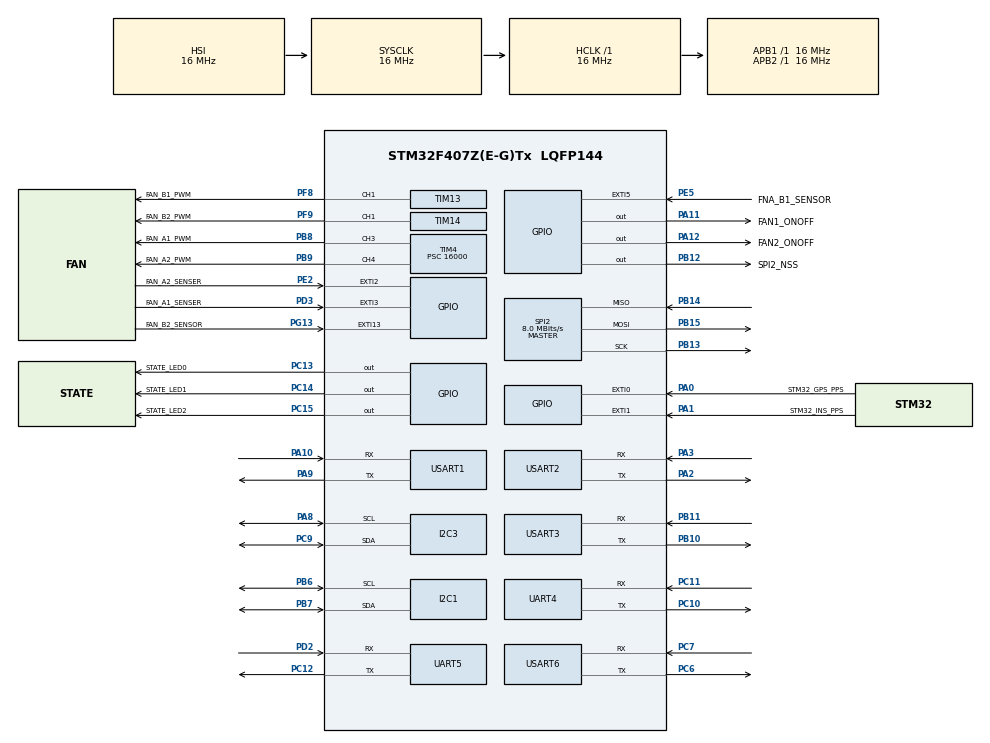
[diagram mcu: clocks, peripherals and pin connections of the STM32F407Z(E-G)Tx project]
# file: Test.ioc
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Mcu.Family=STM32F4
Mcu.Name=STM32F407Z(E-G)Tx
Mcu.Package=LQFP144
NVIC.EXTI15_10_IRQn=true\:0\:0\:false\:false\:true\:true\:true\:true
NVIC.EXTI2_IRQn=true\:0\:0\:false\:false\:true\:true\:true\:true
NVIC.EXTI3_IRQn=true\:0\:0\:false\:false\:true\:true\:true\:true
NVIC.EXTI9_5_IRQn=true\:0\:0\:false\:false\:true\:true\:true\:true
NVIC.PriorityGroup=NVIC_PRIORITYGROUP_4
NVIC.TIM6_DAC_IRQn=true\:0\:0\:false\:false\:true\:true\:true\:true
NVIC.USART2_IRQn=true\:0\:0\:false\:false\:true\:true\:true\:true
PA0-WKUP.GPIO_Label=STM32_GPS_PPS
PA0-WKUP.Signal=GPXTI0
PA1.GPIO_Label=STM32_INS_PPS
PA1.Signal=GPXTI1
PA10.Mode=Asynchronous
PA10.Signal=USART1_RX
PA11.GPIO_Label=FAN1_ONOFF
PA11.Signal=GPIO_Output
PA12.GPIO_Label=FAN2_ONOFF
PA12.Signal=GPIO_Output
PA13.Mode=JTAG_5_pins
PA13.Signal=SYS_JTMS-SWDIO
PA14.Mode=JTAG_5_pins
PA14.Signal=SYS_JTCK-SWCLK
PA15.Mode=JTAG_5_pins
PA15.Signal=SYS_JTDI
PA2.Mode=Asynchronous
PA2.Signal=USART2_TX
PA3.Mode=Asynchronous
PA3.Signal=USART2_RX
PA8.GPIO_Pu=GPIO_PULLUP
PA8.Mode=I2C
PA8.Signal=I2C3_SCL
PA9.Mode=Asynchronous
PA9.Signal=USART1_TX
PB10.Mode=Asynchronous
PB10.Signal=USART3_TX
PB11.Mode=Asynchronous
PB11.Signal=USART3_RX
PB12.GPIO_Label=SPI2_NSS
PB12.Signal=GPIO_Output
PB13.Mode=Full_Duplex_Master
PB13.Signal=SPI2_SCK
PB14.Mode=Full_Duplex_Master
PB14.Signal=SPI2_MISO
PB15.Mode=Full_Duplex_Master
PB15.Signal=SPI2_MOSI
PB3.Mode=JTAG_5_pins
PB3.Signal=SYS_JTDO-SWO
PB4.Mode=JTAG_5_pins
PB4.Signal=SYS_JTRST
PB6.GPIO_Pu=GPIO_PULLUP
PB6.Mode=I2C
PB6.Signal=I2C1_SCL
PB7.GPIO_Pu=GPIO_PULLUP
PB7.Mode=I2C
PB7.Signal=I2C1_SDA
PB8.GPIO_Label=FAN_A1_PWM
PB8.Signal=S_TIM4_CH3
PB9.GPIO_Label=FAN_A2_PWM
PB9.Signal=S_TIM4_CH4
PC10.Mode=Asynchronous
PC10.Signal=UART4_TX
PC11.Mode=Asynchronous
PC11.Signal=UART4_RX
PC12.Mode=Asynchronous
PC12.Signal=UART5_TX
PC13-ANTI_TAMP.GPIO_Label=STATE_LED0
PC13-ANTI_TAMP.Signal=GPIO_Output
PC14-OSC32_IN.GPIO_Label=STATE_LED1
PC14-OSC32_IN.Signal=GPIO_Output
PC15-OSC32_OUT.GPIO_Label=STATE_LED2
PC15-OSC32_OUT.Signal=GPIO_Output
PC6.Mode=Asynchronous
PC6.Signal=USART6_TX
PC7.Mode=Asynchronous
PC7.Signal=USART6_RX
PC9.GPIO_Pu=GPIO_PULLUP
PC9.Mode=I2C
PC9.Signal=I2C3_SDA
PD2.Mode=Asynchronous
PD2.Signal=UART5_RX
PD3.GPIO_Label=FAN_A1_SENSER
PD3.Signal=GPXTI3
PE2.GPIO_Label=FAN_A2_SENSER
PE2.Signal=GPXTI2
PE5.GPIO_Label=FNA_B1_SENSOR
PE5.Signal=GPXTI5
PF8.GPIO_Label=FAN_B1_PWM
PF8.Signal=S_TIM13_CH1
PF9.GPIO_Label=FAN_B2_PWM
PF9.Signal=S_TIM14_CH1
PG13.GPIO_Label=FAN_B2_SENSOR
PG13.Signal=GPXTI13
PH0-OSC_IN.Mode=HSE-External-Oscillator
PH0-OSC_IN.Signal=RCC_OSC_IN
PH1-OSC_OUT.Mode=HSE-External-Oscillator
PH1-OSC_OUT.Signal=RCC_OSC_OUT
ProjectManager.HeapSize=0x200
ProjectManager.StackSize=0x400
ProjectManager.TargetToolchain=EWARM V8.32
RCC.AHBFreq_Value=16000000
RCC.APB1Freq_Value=16000000
RCC.APB1TimFreq_Value=16000000
RCC.APB2Freq_Value=16000000
RCC.APB2TimFreq_Value=16000000
RCC.CortexFreq_Value=16000000
RCC.HSE_VALUE=25000000
RCC.HSI_VALUE=16000000
RCC.LSE_VALUE=32768
RCC.SYSCLKFreq_VALUE=16000000
RCC.VCOOutputFreq_Value=192000000
SH.S_TIM13_CH1.0=TIM13_CH1,PWM Generation1 CH1
SH.S_TIM14_CH1.0=TIM14_CH1,PWM Generation1 CH1
SH.S_TIM4_CH3.0=TIM4_CH3,PWM Generation3 CH3
SH.S_TIM4_CH4.0=TIM4_CH4,PWM Generation4 CH4
SPI2.CalculateBaudRate=8.0 MBits/s
SPI2.Direction=SPI_DIRECTION_2LINES
SPI2.Mode=SPI_MODE_MASTER
SPI2.VirtualType=VM_MASTER
TIM13.Channel=TIM_CHANNEL_1
TIM13.Period=500
TIM13.Prescaler=4000
TIM13.Pulse=300
TIM14.Channel=TIM_CHANNEL_1
TIM14.Period=500
TIM14.Prescaler=4000
TIM14.Pulse=300
TIM4.Channel-PWM\ Generation3\ CH3=TIM_CHANNEL_3
TIM4.Channel-PWM\ Generation4\ CH4=TIM_CHANNEL_4
TIM4.Period=1000
TIM4.Prescaler=16000
TIM4.Pulse-PWM\ Generation3\ CH3=100
TIM4.Pulse-PWM\ Generation4\ CH4=100
TIM6.AutoReloadPreload=TIM_AUTORELOAD_PRELOAD_DISABLE
TIM6.Period=1000
TIM6.Prescaler=16000
UART4.VirtualMode=Asynchronous
UART5.VirtualMode=Asynchronous
USART1.VirtualMode=VM_ASYNC
USART2.VirtualMode=VM_ASYNC
USART3.VirtualMode=VM_ASYNC
USART6.VirtualMode=VM_ASYNC
VP_TIM13_VS_ClockSourceINT.Mode=Enable_Timer
VP_TIM14_VS_ClockSourceINT.Mode=Enable_Timer
VP_TIM4_VS_ClockSourceINT.Mode=Internal
VP_TIM6_VS_ClockSourceINT.Mode=Enable_Timer
board=custom

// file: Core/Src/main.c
/* USER CODE BEGIN Header */
/**
******************************************************************************
* @file           : main.c
* @brief          : Main program body
******************************************************************************
* @attention
*
* Copyright (c) 2022 STMicroelectronics.
* All rights reserved.
*
* This software is licensed under terms that can be found in the LICENSE file
* in the root directory of this software component.
* If no LICENSE file comes with this software, it is provided AS-IS.
*
******************************************************************************
*/
/* USER CODE END Header */
#include "main.h"

I2C_HandleTypeDef hi2c1;
I2C_HandleTypeDef hi2c3;

SPI_HandleTypeDef hspi2;

TIM_HandleTypeDef htim4;
TIM_HandleTypeDef htim6;
TIM_HandleTypeDef htim13;
TIM_HandleTypeDef htim14;

UART_HandleTypeDef huart4;
UART_HandleTypeDef huart5;
UART_HandleTypeDef huart1;
UART_HandleTypeDef huart2;
UART_HandleTypeDef huart3;
UART_HandleTypeDef huart6;

void SystemClock_Config(void);
static void MX_GPIO_Init(void);
static void MX_I2C3_Init(void);
static void MX_UART4_Init(void);
static void MX_UART5_Init(void);
static void MX_USART1_UART_Init(void);
static void MX_USART2_UART_Init(void);
static void MX_USART3_UART_Init(void);
static void MX_USART6_UART_Init(void);
static void MX_SPI2_Init(void);
static void MX_I2C1_Init(void);
static void MX_TIM4_Init(void);
static void MX_TIM13_Init(void);
static void MX_TIM14_Init(void);
static void MX_TIM6_Init(void);
/* USER CODE BEGIN PFP */

#define RPM_Calculation                 60000

typedef struct{
  uint16_t TIMER_DATA1;
  uint16_t TIMER_DATA2;
  uint16_t TIMER_MINU;
  uint16_t FAN_RPM;
  uint8_t  RPM_check;
}TIMER_struct;

TIMER_struct A1_DATA;
TIMER_struct A2_DATA;
TIMER_struct B1_DATA;
TIMER_struct B2_DATA;

/* USER CODE END PFP */

/* USER CODE BEGIN 0 */

void TIMER_struct_init(TIMER_struct* DATA){
  DATA->TIMER_DATA1=0;
  DATA->TIMER_DATA2=0;
  DATA->TIMER_MINU=0;
  DATA->FAN_RPM=0;
  DATA->RPM_check=1;

}

void TIMER_RPM(TIMER_struct* DATA){

  if(DATA->RPM_check == 1){
    DATA->TIMER_DATA1=htim6.Instance->CNT;
    DATA->RPM_check++;
  }
  else if (DATA->RPM_check == 2){
    DATA->RPM_check++;
  }
  else if (DATA->RPM_check == 3){
    DATA->TIMER_DATA2=htim6.Instance->CNT;

    if(DATA->TIMER_DATA2 < DATA->TIMER_DATA1) DATA->TIMER_DATA2+=1000;

    DATA->TIMER_MINU =  DATA->TIMER_DATA2 - DATA->TIMER_DATA1;
    DATA->FAN_RPM = RPM_Calculation / DATA->TIMER_MINU;

    DATA->RPM_check=1;
  }

}

void HAL_GPIO_EXTI_Callback(uint16_t GPIO_Pin){
  //HAL_GPIO_TogglePin(GPIOB,GPIO_PIN_13);

  //FAN_A1_SENSOR
  if(GPIO_Pin == GPIO_PIN_3){
    TIMER_RPM(&A1_DATA);

  }
  //FAN_A2_SENSOR
  else if(GPIO_Pin == GPIO_PIN_2){
    TIMER_RPM(&A2_DATA);

  }
  //FAN_B1_SENSOR
  else if(GPIO_Pin == GPIO_PIN_5){
    TIMER_RPM(&B1_DATA);

  }
  //FAN_B2_SENSOR
  else if(GPIO_Pin == GPIO_PIN_13){
    TIMER_RPM(&B2_DATA);

  }
}

void HAL_TIM_PeriodElapsedCallback(TIM_HandleTypeDef *htim){
  if(htim->Instance == TIM6){
    HAL_GPIO_TogglePin(GPIOC,STATE_LED0_Pin);
  }
}

/* USER CODE END 0 */

int main(void)
{

  /* MCU Configuration--------------------------------------------------------*/

  /* Reset of all peripherals, Initializes the Flash interface and the Systick. */
  HAL_Init();

  /* Configure the system clock */
  SystemClock_Config();

  /* Initialize all configured peripherals */
  MX_GPIO_Init();
  MX_I2C3_Init();
  MX_UART4_Init();
  MX_UART5_Init();
  MX_USART1_UART_Init();
  MX_USART2_UART_Init();
  MX_USART3_UART_Init();
  MX_USART6_UART_Init();
  MX_SPI2_Init();
  MX_I2C1_Init();
  MX_TIM4_Init();
  MX_TIM13_Init();
  MX_TIM14_Init();
  MX_TIM6_Init();

  /* Infinite loop */
  /* USER CODE BEGIN WHILE */
  TIMER_struct_init(&A1_DATA);
  TIMER_struct_init(&A2_DATA);
  TIMER_struct_init(&B1_DATA);
  TIMER_struct_init(&B2_DATA);
  // FAN2 Connecter start
  HAL_TIM_PWM_Start(&htim14, TIM_CHANNEL_1);
  HAL_TIM_PWM_Start(&htim13, TIM_CHANNEL_1);

  HAL_GPIO_WritePin(GPIOA,FAN2_ONOFF_Pin,GPIO_PIN_SET);

  //FAN1 Connecter start
  HAL_TIM_PWM_Start(&htim4, TIM_CHANNEL_3);
  HAL_TIM_PWM_Start(&htim4, TIM_CHANNEL_4);

  HAL_GPIO_WritePin(GPIOA,FAN1_ONOFF_Pin,GPIO_PIN_SET);

  //rpm data calculation timer
  HAL_TIM_Base_Start_IT(&htim6) ;

  while (1)
  {
    /* USER CODE END WHILE */

  }
}

void SystemClock_Config(void)
{
  RCC_OscInitTypeDef RCC_OscInitStruct = {0};
  RCC_ClkInitTypeDef RCC_ClkInitStruct = {0};

  /** Configure the main internal regulator output voltage
  */
  __HAL_RCC_PWR_CLK_ENABLE();
  __HAL_PWR_VOLTAGESCALING_CONFIG(PWR_REGULATOR_VOLTAGE_SCALE1);

  /** Initializes the RCC Oscillators according to the specified parameters
  * in the RCC_OscInitTypeDef structure.
  */
  RCC_OscInitStruct.OscillatorType = RCC_OSCILLATORTYPE_HSI;
  RCC_OscInitStruct.HSIState = RCC_HSI_ON;
  RCC_OscInitStruct.HSICalibrationValue = RCC_HSICALIBRATION_DEFAULT;
  RCC_OscInitStruct.PLL.PLLState = RCC_PLL_NONE;
  if (HAL_RCC_OscConfig(&RCC_OscInitStruct) != HAL_OK)
  {
    Error_Handler();
  }

  /** Initializes the CPU, AHB and APB buses clocks
  */
  RCC_ClkInitStruct.ClockType = RCC_CLOCKTYPE_HCLK|RCC_CLOCKTYPE_SYSCLK
    |RCC_CLOCKTYPE_PCLK1|RCC_CLOCKTYPE_PCLK2;
  RCC_ClkInitStruct.SYSCLKSource = RCC_SYSCLKSOURCE_HSI;
  RCC_ClkInitStruct.AHBCLKDivider = RCC_SYSCLK_DIV1;
  RCC_ClkInitStruct.APB1CLKDivider = RCC_HCLK_DIV1;
  RCC_ClkInitStruct.APB2CLKDivider = RCC_HCLK_DIV1;

  if (HAL_RCC_ClockConfig(&RCC_ClkInitStruct, FLASH_LATENCY_0) != HAL_OK)
  {
    Error_Handler();
  }
}

static void MX_I2C1_Init(void)
{

  hi2c1.Instance = I2C1;
  hi2c1.Init.ClockSpeed = 100000;
  hi2c1.Init.DutyCycle = I2C_DUTYCYCLE_2;
  hi2c1.Init.OwnAddress1 = 0;
  hi2c1.Init.AddressingMode = I2C_ADDRESSINGMODE_7BIT;
  hi2c1.Init.DualAddressMode = I2C_DUALADDRESS_DISABLE;
  hi2c1.Init.OwnAddress2 = 0;
  hi2c1.Init.GeneralCallMode = I2C_GENERALCALL_DISABLE;
  hi2c1.Init.NoStretchMode = I2C_NOSTRETCH_DISABLE;
  if (HAL_I2C_Init(&hi2c1) != HAL_OK)
  {
    Error_Handler();
  }

}

static void MX_I2C3_Init(void)
{

  hi2c3.Instance = I2C3;
  hi2c3.Init.ClockSpeed = 100000;
  hi2c3.Init.DutyCycle = I2C_DUTYCYCLE_2;
  hi2c3.Init.OwnAddress1 = 0;
  hi2c3.Init.AddressingMode = I2C_ADDRESSINGMODE_7BIT;
  hi2c3.Init.DualAddressMode = I2C_DUALADDRESS_DISABLE;
  hi2c3.Init.OwnAddress2 = 0;
  hi2c3.Init.GeneralCallMode = I2C_GENERALCALL_DISABLE;
  hi2c3.Init.NoStretchMode = I2C_NOSTRETCH_DISABLE;
  if (HAL_I2C_Init(&hi2c3) != HAL_OK)
  {
    Error_Handler();
  }

}

static void MX_SPI2_Init(void)
{

  /* SPI2 parameter configuration*/
  hspi2.Instance = SPI2;
  hspi2.Init.Mode = SPI_MODE_MASTER;
  hspi2.Init.Direction = SPI_DIRECTION_2LINES;
  hspi2.Init.DataSize = SPI_DATASIZE_8BIT;
  hspi2.Init.CLKPolarity = SPI_POLARITY_LOW;
  hspi2.Init.CLKPhase = SPI_PHASE_1EDGE;
  hspi2.Init.NSS = SPI_NSS_SOFT;
  hspi2.Init.BaudRatePrescaler = SPI_BAUDRATEPRESCALER_2;
  hspi2.Init.FirstBit = SPI_FIRSTBIT_MSB;
  hspi2.Init.TIMode = SPI_TIMODE_DISABLE;
  hspi2.Init.CRCCalculation = SPI_CRCCALCULATION_DISABLE;
  hspi2.Init.CRCPolynomial = 10;
  if (HAL_SPI_Init(&hspi2) != HAL_OK)
  {
    Error_Handler();
  }

}

static void MX_TIM4_Init(void)
{

  TIM_ClockConfigTypeDef sClockSourceConfig = {0};
  TIM_MasterConfigTypeDef sMasterConfig = {0};
  TIM_OC_InitTypeDef sConfigOC = {0};

  htim4.Instance = TIM4;
  htim4.Init.Prescaler = 2000-1;
  htim4.Init.CounterMode = TIM_COUNTERMODE_UP;
  htim4.Init.Period = 1000-1;
  htim4.Init.ClockDivision = TIM_CLOCKDIVISION_DIV1;
  htim4.Init.AutoReloadPreload = TIM_AUTORELOAD_PRELOAD_DISABLE;
  if (HAL_TIM_Base_Init(&htim4) != HAL_OK)
  {
    Error_Handler();
  }
  sClockSourceConfig.ClockSource = TIM_CLOCKSOURCE_INTERNAL;
  if (HAL_TIM_ConfigClockSource(&htim4, &sClockSourceConfig) != HAL_OK)
  {
    Error_Handler();
  }
  if (HAL_TIM_PWM_Init(&htim4) != HAL_OK)
  {
    Error_Handler();
  }
  sMasterConfig.MasterOutputTrigger = TIM_TRGO_RESET;
  sMasterConfig.MasterSlaveMode = TIM_MASTERSLAVEMODE_DISABLE;
  if (HAL_TIMEx_MasterConfigSynchronization(&htim4, &sMasterConfig) != HAL_OK)
  {
    Error_Handler();
  }
  sConfigOC.OCMode = TIM_OCMODE_PWM1;
  sConfigOC.Pulse = 900-1;
  sConfigOC.OCPolarity = TIM_OCPOLARITY_HIGH;
  sConfigOC.OCFastMode = TIM_OCFAST_DISABLE;
  if (HAL_TIM_PWM_ConfigChannel(&htim4, &sConfigOC, TIM_CHANNEL_3) != HAL_OK)
  {
    Error_Handler();
  }
  if (HAL_TIM_PWM_ConfigChannel(&htim4, &sConfigOC, TIM_CHANNEL_4) != HAL_OK)
  {
    Error_Handler();
  }
  HAL_TIM_MspPostInit(&htim4);

}

static void MX_TIM6_Init(void)
{

  TIM_MasterConfigTypeDef sMasterConfig = {0};

  htim6.Instance = TIM6;
  htim6.Init.Prescaler = 16000-1;
  htim6.Init.CounterMode = TIM_COUNTERMODE_UP;
  htim6.Init.Period = 1000-1;
  htim6.Init.AutoReloadPreload = TIM_AUTORELOAD_PRELOAD_DISABLE;
  if (HAL_TIM_Base_Init(&htim6) != HAL_OK)
  {
    Error_Handler();
  }
  sMasterConfig.MasterOutputTrigger = TIM_TRGO_RESET;
  sMasterConfig.MasterSlaveMode = TIM_MASTERSLAVEMODE_DISABLE;
  if (HAL_TIMEx_MasterConfigSynchronization(&htim6, &sMasterConfig) != HAL_OK)
  {
    Error_Handler();
  }

}

static void MX_TIM13_Init(void)
{

  TIM_OC_InitTypeDef sConfigOC = {0};

  htim13.Instance = TIM13;
  htim13.Init.Prescaler = 2000-1;
  htim13.Init.CounterMode = TIM_COUNTERMODE_UP;
  htim13.Init.Period = 1000-1;
  htim13.Init.ClockDivision = TIM_CLOCKDIVISION_DIV1;
  htim13.Init.AutoReloadPreload = TIM_AUTORELOAD_PRELOAD_DISABLE;
  if (HAL_TIM_Base_Init(&htim13) != HAL_OK)
  {
    Error_Handler();
  }
  if (HAL_TIM_PWM_Init(&htim13) != HAL_OK)
  {
    Error_Handler();
  }
  sConfigOC.OCMode = TIM_OCMODE_PWM1;
  sConfigOC.Pulse = 500-1;
  sConfigOC.OCPolarity = TIM_OCPOLARITY_HIGH;
  sConfigOC.OCFastMode = TIM_OCFAST_DISABLE;
  if (HAL_TIM_PWM_ConfigChannel(&htim13, &sConfigOC, TIM_CHANNEL_1) != HAL_OK)
  {
    Error_Handler();
  }
  HAL_TIM_MspPostInit(&htim13);

}

static void MX_TIM14_Init(void)
{

  TIM_OC_InitTypeDef sConfigOC = {0};

  htim14.Instance = TIM14;
  htim14.Init.Prescaler = 2000-1;
  htim14.Init.CounterMode = TIM_COUNTERMODE_UP;
  htim14.Init.Period = 1000-1;
  htim14.Init.ClockDivision = TIM_CLOCKDIVISION_DIV1;
  htim14.Init.AutoReloadPreload = TIM_AUTORELOAD_PRELOAD_DISABLE;
  if (HAL_TIM_Base_Init(&htim14) != HAL_OK)
  {
    Error_Handler();
  }
  if (HAL_TIM_PWM_Init(&htim14) != HAL_OK)
  {
    Error_Handler();
  }
  sConfigOC.OCMode = TIM_OCMODE_PWM1;
  sConfigOC.Pulse = 900-1;
  sConfigOC.OCPolarity = TIM_OCPOLARITY_HIGH;
  sConfigOC.OCFastMode = TIM_OCFAST_DISABLE;
  if (HAL_TIM_PWM_ConfigChannel(&htim14, &sConfigOC, TIM_CHANNEL_1) != HAL_OK)
  {
    Error_Handler();
  }
  HAL_TIM_MspPostInit(&htim14);

}

static void MX_UART4_Init(void)
{

  huart4.Instance = UART4;
  huart4.Init.BaudRate = 115200;
  huart4.Init.WordLength = UART_WORDLENGTH_8B;
  huart4.Init.StopBits = UART_STOPBITS_1;
  huart4.Init.Parity = UART_PARITY_NONE;
  huart4.Init.Mode = UART_MODE_TX_RX;
  huart4.Init.HwFlowCtl = UART_HWCONTROL_NONE;
  huart4.Init.OverSampling = UART_OVERSAMPLING_16;
  if (HAL_UART_Init(&huart4) != HAL_OK)
  {
    Error_Handler();
  }

}

static void MX_UART5_Init(void)
{

  huart5.Instance = UART5;
  huart5.Init.BaudRate = 115200;
  huart5.Init.WordLength = UART_WORDLENGTH_8B;
  huart5.Init.StopBits = UART_STOPBITS_1;
  huart5.Init.Parity = UART_PARITY_NONE;
  huart5.Init.Mode = UART_MODE_TX_RX;
  huart5.Init.HwFlowCtl = UART_HWCONTROL_NONE;
  huart5.Init.OverSampling = UART_OVERSAMPLING_16;
  if (HAL_UART_Init(&huart5) != HAL_OK)
  {
    Error_Handler();
  }

}

static void MX_USART1_UART_Init(void)
{

  huart1.Instance = USART1;
  huart1.Init.BaudRate = 115200;
  huart1.Init.WordLength = UART_WORDLENGTH_8B;
  huart1.Init.StopBits = UART_STOPBITS_1;
  huart1.Init.Parity = UART_PARITY_NONE;
  huart1.Init.Mode = UART_MODE_TX_RX;
  huart1.Init.HwFlowCtl = UART_HWCONTROL_NONE;
  huart1.Init.OverSampling = UART_OVERSAMPLING_16;
  if (HAL_UART_Init(&huart1) != HAL_OK)
  {
    Error_Handler();
  }

}

static void MX_USART2_UART_Init(void)
{

  huart2.Instance = USART2;
  huart2.Init.BaudRate = 115200;
  huart2.Init.WordLength = UART_WORDLENGTH_8B;
  huart2.Init.StopBits = UART_STOPBITS_1;
  huart2.Init.Parity = UART_PARITY_NONE;
  huart2.Init.Mode = UART_MODE_TX_RX;
  huart2.Init.HwFlowCtl = UART_HWCONTROL_NONE;
  huart2.Init.OverSampling = UART_OVERSAMPLING_16;
  if (HAL_UART_Init(&huart2) != HAL_OK)
  {
    Error_Handler();
  }

}

static void MX_USART3_UART_Init(void)
{

  huart3.Instance = USART3;
  huart3.Init.BaudRate = 115200;
  huart3.Init.WordLength = UART_WORDLENGTH_8B;
  huart3.Init.StopBits = UART_STOPBITS_1;
  huart3.Init.Parity = UART_PARITY_NONE;
  huart3.Init.Mode = UART_MODE_TX_RX;
  huart3.Init.HwFlowCtl = UART_HWCONTROL_NONE;
  huart3.Init.OverSampling = UART_OVERSAMPLING_16;
  if (HAL_UART_Init(&huart3) != HAL_OK)
  {
    Error_Handler();
  }

}

static void MX_USART6_UART_Init(void)
{

  huart6.Instance = USART6;
  huart6.Init.BaudRate = 115200;
  huart6.Init.WordLength = UART_WORDLENGTH_8B;
  huart6.Init.StopBits = UART_STOPBITS_1;
  huart6.Init.Parity = UART_PARITY_NONE;
  huart6.Init.Mode = UART_MODE_TX_RX;
  huart6.Init.HwFlowCtl = UART_HWCONTROL_NONE;
  huart6.Init.OverSampling = UART_OVERSAMPLING_16;
  if (HAL_UART_Init(&huart6) != HAL_OK)
  {
    Error_Handler();
  }

}

static void MX_GPIO_Init(void)
{
  GPIO_InitTypeDef GPIO_InitStruct = {0};

  /* GPIO Ports Clock Enable */
  __HAL_RCC_GPIOE_CLK_ENABLE();
  __HAL_RCC_GPIOC_CLK_ENABLE();
  __HAL_RCC_GPIOF_CLK_ENABLE();
  __HAL_RCC_GPIOH_CLK_ENABLE();
  __HAL_RCC_GPIOA_CLK_ENABLE();
  __HAL_RCC_GPIOB_CLK_ENABLE();
  __HAL_RCC_GPIOD_CLK_ENABLE();
  __HAL_RCC_GPIOG_CLK_ENABLE();

  /*Configure GPIO pin Output Level */
  HAL_GPIO_WritePin(GPIOC, STATE_LED0_Pin|STATE_LED1_Pin|STATE_LED2_Pin, GPIO_PIN_RESET);

  /*Configure GPIO pin Output Level */
  HAL_GPIO_WritePin(SPI2_NSS_GPIO_Port, SPI2_NSS_Pin, GPIO_PIN_RESET);

  /*Configure GPIO pin Output Level */
  HAL_GPIO_WritePin(GPIOA, FAN1_ONOFF_Pin|FAN2_ONOFF_Pin, GPIO_PIN_RESET);

  /*Configure GPIO pins : FAN_A2_SENSER_Pin FNA_B1_SENSOR_Pin */
  GPIO_InitStruct.Pin = FAN_A2_SENSER_Pin|FNA_B1_SENSOR_Pin;
  GPIO_InitStruct.Mode = GPIO_MODE_IT_RISING;
  GPIO_InitStruct.Pull = GPIO_NOPULL;
  HAL_GPIO_Init(GPIOE, &GPIO_InitStruct);

  /*Configure GPIO pins : STATE_LED0_Pin STATE_LED1_Pin STATE_LED2_Pin */
  GPIO_InitStruct.Pin = STATE_LED0_Pin|STATE_LED1_Pin|STATE_LED2_Pin;
  GPIO_InitStruct.Mode = GPIO_MODE_OUTPUT_PP;
  GPIO_InitStruct.Pull = GPIO_NOPULL;
  GPIO_InitStruct.Speed = GPIO_SPEED_FREQ_LOW;
  HAL_GPIO_Init(GPIOC, &GPIO_InitStruct);

  /*Configure GPIO pins : STM32_GPS_PPS_Pin STM32_INS_PPS_Pin */
  GPIO_InitStruct.Pin = STM32_GPS_PPS_Pin|STM32_INS_PPS_Pin;
  GPIO_InitStruct.Mode = GPIO_MODE_IT_RISING;
  GPIO_InitStruct.Pull = GPIO_NOPULL;
  HAL_GPIO_Init(GPIOA, &GPIO_InitStruct);

  /*Configure GPIO pin : SPI2_NSS_Pin */
  GPIO_InitStruct.Pin = SPI2_NSS_Pin;
  GPIO_InitStruct.Mode = GPIO_MODE_OUTPUT_PP;
  GPIO_InitStruct.Pull = GPIO_NOPULL;
  GPIO_InitStruct.Speed = GPIO_SPEED_FREQ_LOW;
  HAL_GPIO_Init(SPI2_NSS_GPIO_Port, &GPIO_InitStruct);

  /*Configure GPIO pins : FAN1_ONOFF_Pin FAN2_ONOFF_Pin */
  GPIO_InitStruct.Pin = FAN1_ONOFF_Pin|FAN2_ONOFF_Pin;
  GPIO_InitStruct.Mode = GPIO_MODE_OUTPUT_PP;
  GPIO_InitStruct.Pull = GPIO_NOPULL;
  GPIO_InitStruct.Speed = GPIO_SPEED_FREQ_LOW;
  HAL_GPIO_Init(GPIOA, &GPIO_InitStruct);

  /*Configure GPIO pin : FAN_A1_SENSER_Pin */
  GPIO_InitStruct.Pin = FAN_A1_SENSER_Pin;
  GPIO_InitStruct.Mode = GPIO_MODE_IT_RISING;
  GPIO_InitStruct.Pull = GPIO_NOPULL;
  HAL_GPIO_Init(FAN_A1_SENSER_GPIO_Port, &GPIO_InitStruct);

  /*Configure GPIO pin : FAN_B2_SENSOR_Pin */
  GPIO_InitStruct.Pin = FAN_B2_SENSOR_Pin;
  GPIO_InitStruct.Mode = GPIO_MODE_IT_RISING;
  GPIO_InitStruct.Pull = GPIO_NOPULL;
  HAL_GPIO_Init(FAN_B2_SENSOR_GPIO_Port, &GPIO_InitStruct);

  /* EXTI interrupt init*/
  HAL_NVIC_SetPriority(EXTI2_IRQn, 0, 0);
  HAL_NVIC_EnableIRQ(EXTI2_IRQn);

  HAL_NVIC_SetPriority(EXTI3_IRQn, 0, 0);
  HAL_NVIC_EnableIRQ(EXTI3_IRQn);

  HAL_NVIC_SetPriority(EXTI9_5_IRQn, 0, 0);
  HAL_NVIC_EnableIRQ(EXTI9_5_IRQn);

  HAL_NVIC_SetPriority(EXTI15_10_IRQn, 0, 0);
  HAL_NVIC_EnableIRQ(EXTI15_10_IRQn);

}

void Error_Handler(void)
{
  __disable_irq();
  while (1)
  {
  }
}
